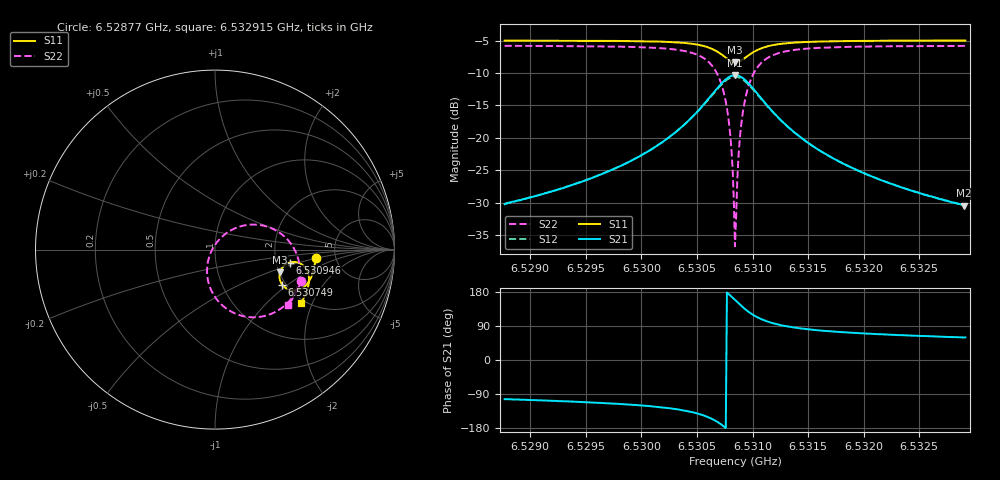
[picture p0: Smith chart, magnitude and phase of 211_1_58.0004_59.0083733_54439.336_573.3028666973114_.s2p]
#  HZ  S  RI  R  50.00
! Rohde & Schwarz Vector Network Analyzer
! Rohde-Schwarz,ZNB20-2Port,1311601062101988,3.16
! Created: UTC 3/21/2024, 12:59:44 AM
! freq[Hz]  re:S11  im:S11  re:S21  im:S21  re:S12  im:S12  re:S22  im:S22
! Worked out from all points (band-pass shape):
!   401 points, 6.52877 GHz to 6.532915 GHz, reference 50 ohm
!   highest |S21| = -10.32 dB at 6.530842 GHz (marker M1); lowest = -30.4 dB at 6.532904 GHz (marker M2)
!   |S21| within 3 dB of the highest: 6.530635 GHz to 6.53105 GHz (414.9 kHz wide, 0.00635 % of centre)
!   lowest |S11| = -8.3 dB at 6.530842 GHz (marker M3), VSWR 2.24, Z = 101 - j29.9 ohm
!   |S11| at or under -10 dB: nowhere
!   |S22| runs from -36.7 to -5.8 dB; largest |S21 - S12| = 0.012
!   S11 on the Smith chart (normalised r, x): 6.52877 GHz: 3.49, -0.50; 6.530749 GHz: 1.91, -0.91; 6.530946 GHz: 2.37, -0.42; 6.532915 GHz: 1.91, -1.66
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6.5287699e9  0.5604 -0.0491  -0.0071 -0.0299  -0.00769 -0.0301  0.4819 -0.1753
6.5294641e9  0.5511 -0.107  -0.0162 -0.0429  -0.0174 -0.0425  0.4504 -0.2391
6.5301584e9  0.5241 -0.1765  -0.0498 -0.0737  -0.052 -0.0724  0.3681 -0.3275
6.5303967e9  0.4978 -0.207  -0.0893 -0.093  -0.0922 -0.09  0.2875 -0.3667
6.5305728e9  0.4545 -0.2269  -0.1571 -0.0995  -0.1595 -0.093  0.1624 -0.3719
6.5306764e9  0.4097 -0.2223  -0.2262 -0.0734  -0.2255 -0.0638  0.0461 -0.3152
6.530749e9  0.3747 -0.1956  -0.2773 -0.0151  -0.2714 -0.00511  -0.0288 -0.2076
6.5307904e9  0.3615 -0.1679  -0.293 0.0375  -0.2842 0.0457  -0.0445 -0.1177
6.5308111e9  0.359 -0.1517  -0.2936 0.0673  -0.2835 0.0738  -0.0397 -0.0687
6.5308319e9  0.36 -0.1348  -0.2882 0.0975  -0.2774 0.1022  -0.0251 -0.0204
6.5308422e9  0.3618 -0.1264  -0.2834 0.1122  -0.2724 0.1159  -0.0143 0.00296
6.5308526e9  0.3646 -0.1184  -0.2771 0.1264  -0.266 0.1291  -0.00115 0.0248
6.5308629e9  0.3683 -0.1107  -0.2693 0.1398  -0.2584 0.1417  0.014 0.0453
6.5308837e9  0.3777 -0.0969  -0.2504 0.1637  -0.2402 0.1638  0.0494 0.0806
6.530894e9  0.3833 -0.0908  -0.2394 0.174  -0.2297 0.1733  0.069 0.0954
6.5309458e9  0.416 -0.072  -0.1796 0.2059  -0.1728 0.203  0.1737 0.1365
6.5310184e9  0.4588 -0.0715  -0.1048 0.2081  -0.1013 0.2051  0.2992 0.125
6.531122e9  0.4964 -0.0931  -0.0404 0.1774  -0.0386 0.1758  0.4027 0.0573
6.5315365e9  0.5237 -0.1724  0.0154 0.0855  0.0164 0.0855  0.4727 -0.1346
6.5322307e9  0.5062 -0.244  0.0175 0.0412  0.0184 0.0409  0.4431 -0.25
6.5329042e9  0.4811 -0.295  0.0153 0.0259  0.0159 0.0257  0.4084 -0.3092
6.5329146e9  0.4807 -0.2956  0.0153 0.0261  0.0159 0.0256  0.408 -0.3098
